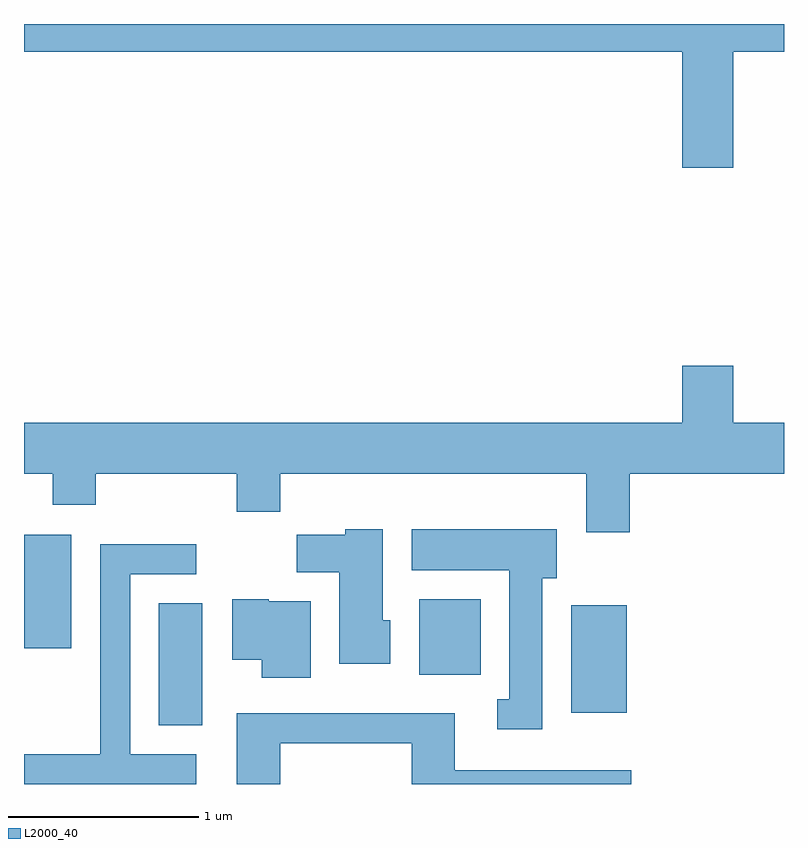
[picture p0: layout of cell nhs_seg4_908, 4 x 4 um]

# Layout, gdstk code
import gdstk
lib = gdstk.Library(unit=1e-6, precision=1e-09)
def R(c, l, rs):  # rectangles x0, y0, x1, y1
    for r in rs: c.add(gdstk.rectangle(r[:2], r[2:], *l))
def P(c, l, *ps):  # polygons
    for p in ps: c.add(gdstk.Polygon(p, *l))
L2000_40 = (2000, 40)

nhs_seg4_908 = lib.new_cell('nhs_seg4_908')
R(nhs_seg4_908, L2000_40, [(212.321,1302.291,212.549,1302.934), (214.491,1302.356,214.784,1302.924), (213.691,1302.556,214.014,1302.954), (211.611,1302.696,211.859,1303.294)])
P(nhs_seg4_908, L2000_40, [(215.344,1305.836),(215.611,1305.836),(215.611,1305.982),(211.611,1305.982),(211.611,1305.836),(215.076,1305.836),(215.076,1305.226),(215.344,1305.226)],
  [(214.799,1303.616),(215.611,1303.616),(215.611,1303.884),(215.344,1303.884),(215.344,1304.184),(215.076,1304.184),(215.076,1303.884),(211.611,1303.884),(211.611,1303.616),(211.761,1303.616),(211.761,1303.451),(211.989,1303.451),(211.989,1303.616),(212.731,1303.616),(212.731,1303.416),(212.959,1303.416),(212.959,1303.616),(214.571,1303.616),(214.571,1303.306),(214.799,1303.306)],
  [(213.539,1302.844),(213.499,1302.844),(213.499,1303.324),(213.301,1303.324),(213.301,1303.294),(213.046,1303.294),(213.046,1303.096),(213.271,1303.096),(213.271,1302.616),(213.539,1302.616)],
  [(214.339,1303.066),(214.414,1303.066),(214.414,1303.324),(213.651,1303.324),(213.651,1303.106),(214.166,1303.106),(214.166,1302.429),(214.103,1302.429),(214.103,1302.271),(214.339,1302.271)],
  [(212.518,1302.139),(212.169,1302.139),(212.169,1303.086),(212.518,1303.086),(212.518,1303.244),(212.011,1303.244),(212.011,1302.139),(211.611,1302.139),(211.611,1301.982),(212.518,1301.982)],
  [(213.119,1302.944),(212.9,1302.944),(212.9,1302.954),(212.706,1302.954),(212.706,1302.636),(212.861,1302.636),(212.861,1302.541),(213.119,1302.541)],
  [(212.959,1302.196),(213.651,1302.196),(213.651,1301.982),(214.808,1301.982),(214.808,1302.054),(213.879,1302.054),(213.879,1302.354),(212.731,1302.354),(212.731,1301.982),(212.959,1301.982)])

lib.write_gds('nhs_seg4_908.gds')
